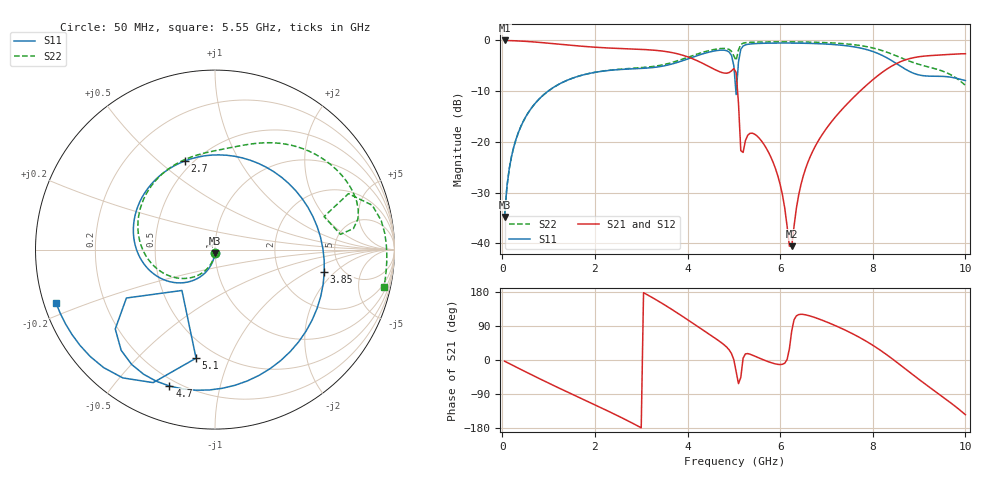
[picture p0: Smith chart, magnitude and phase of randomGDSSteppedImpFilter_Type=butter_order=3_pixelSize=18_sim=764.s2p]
! freq	dB(S11)	phase(S11)	dB(S12)	phase(S12)
!  dB(S21)	phase(S21)	dB(S22)	phase(S22)
!S-par simulation data
#  GHz  S  DB  R 50
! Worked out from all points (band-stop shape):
!   200 points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, 50 MHz to 10 GHz, reference 50 ohm
!   highest |S21| = 0.00 dB at 50 MHz (marker M1); lowest = -40.5 dB at 6.25 GHz (marker M2)
!   |S21| within 3 dB of the highest: start of sweep to 3.927 GHz; 9.217 GHz to end of sweep
!   lowest |S11| = -34.8 dB at 50 MHz (marker M3), VSWR 1.04, Z = 49.9 - j1.81 ohm
!   |S11| at or under -10 dB: start of sweep to 987.9 MHz; 5.044138 GHz to 5.055168 GHz (11.03 MHz wide, 0.218 % of centre)
!   |S22| runs from -34.8 to -0.3 dB; largest |S21 - S12| = 0
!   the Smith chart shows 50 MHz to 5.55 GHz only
!   S11 on the Smith chart (normalised r, x): 50 MHz: 1.00, -0.04; 2.7 GHz: 0.45, +0.62; 3.85 GHz: 3.63, -1.49; 4.7 GHz: 0.17, -0.71; 5.1 GHz: 0.39, -0.76; 5.55 GHz: 0.03, -0.16
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0.05  -34.80 -92.8  -0.00 -3.2  -0.00 -3.2  -34.81 -93.3
0.2  -22.82 -101.7  -0.04 -12.5  -0.04 -12.5  -22.83 -103.8
0.5  -15.15 -118.8  -0.18 -31.0  -0.18 -31.0  -15.16 -124.1
1.75  -6.78 171.3  -1.17 -104.1  -1.17 -104.1  -6.78 159.2
2.7  -5.65 108.6  -1.65 -159.8  -1.65 -159.8  -5.56 110.8
3.4  -5.16 41.9  -2.03 153.2  -2.03 153.2  -4.92 83.4
3.85  -4.13 -11.7  -2.79 118.5  -2.79 118.5  -3.81 67.0
4.7  -1.92 -108.5  -6.19 48.5  -6.19 48.5  -1.61 24.7
4.95  -2.97 -141.5  -6.00 16.9  -6.00 16.9  -2.15 8.7
5.05  -10.66 -129.0  -6.35 -30.5  -6.35 -30.5  -3.95 16.9
5.1  -4.24 -99.9  -12.32 -62.3  -12.32 -62.3  -1.87 22.7
5.15  -1.75 -114.9  -21.72 -46.0  -21.72 -46.0  -0.81 15.7
5.55  -0.59 -161.4  -19.28 4.9  -19.28 4.9  -0.32 -12.3
5.95  -0.51 171.6  -26.70 -11.5  -26.70 -11.5  -0.27 -31.1
6.25  -0.52 153.3  -40.54 77.0  -40.54 77.0  -0.28 -44.1
6.7  -0.60 126.1  -21.89 114.1  -21.89 114.1  -0.35 -62.5
7.55  -1.20 66.9  -11.54 70.1  -11.54 70.1  -0.79 -96.8
8  -2.17 23.8  -7.75 38.9  -7.75 38.9  -1.48 -115.8
8.35  -3.66 -20.5  -5.38 9.6  -5.38 9.6  -2.47 -130.2
8.7  -5.65 -76.7  -3.84 -23.1  -3.84 -23.1  -3.76 -142.3
9.15  -7.01 -154.9  -3.05 -65.1  -3.05 -65.1  -5.10 -156.5
10  -7.91 116.6  -2.62 -144.3  -2.62 -144.3  -8.85 130.0
